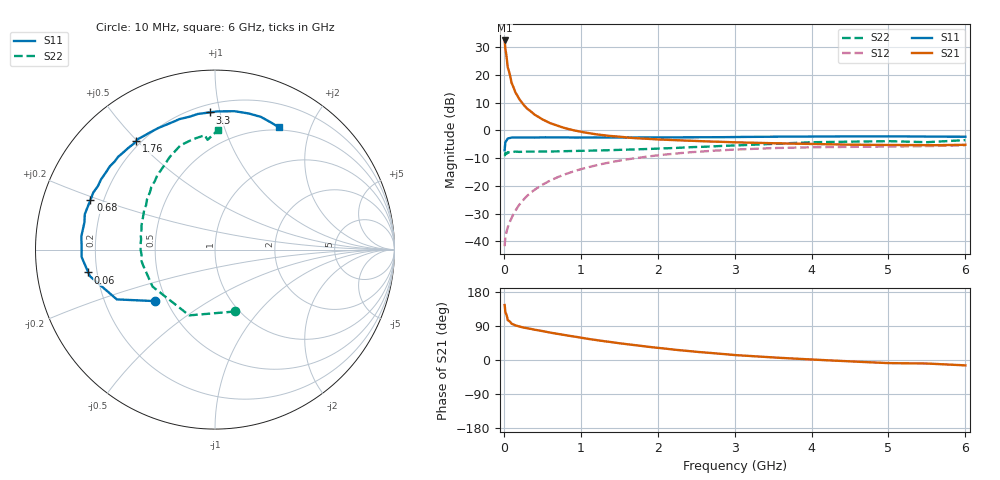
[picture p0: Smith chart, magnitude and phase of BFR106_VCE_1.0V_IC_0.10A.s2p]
! Infineon Technologies  Discrete & RF Semiconductors
! BFR106
! VCE =  1.0 V,  IC = 0.10 A
! Common Emitter S-Parameters:  Nov 2015
# GHz  S  MA  R  50
!  f  S11  S21  S12  S22
! GHz  MAG  ANG  MAG  ANG  MAG  ANG  MAG  ANG
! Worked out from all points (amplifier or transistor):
!   210 points, 10 MHz to 6 GHz, reference 50 ohm
!   highest |S21| = 32.4 dB at 10 MHz (marker M1)
!   |S21| within 3 dB of that: start of sweep to 20.05 MHz
!   unconditionally stable (mu >= 1): start of sweep to 15.12 MHz; 39.81 MHz to end of sweep
!   at 185 MHz: K = 1.44, MAG = 15.8 dB, |S12| = -27.4 dB
!   at 1.52 GHz: K = 1.25, MAG = 1.3 dB, |S12| = -10.8 dB
!   at 6 GHz: K = 1.04, MAG = -1.2 dB, |S12| = -5.3 dB
!   S11 on the Smith chart (normalised r, x): 10 MHz: 0.43, -0.31; 60 MHz: 0.17, -0.09; 680 MHz: 0.15, +0.19; 1.76 GHz: 0.18, +0.50; 3.3 GHz: 0.25, +0.93; 6 GHz: 0.47, +1.55
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0.01  0.4393 -139.2  41.75 145.0  0.0082 56.4  0.3625 -72.0
0.02  0.6133 -153.1  29.58 125.5  0.012 48.6  0.3936 -111.4
0.05  0.7126 -168.0  13.89 105.2  0.0178 50.9  0.4045 -149.4
0.06  0.7175 -169.8  12.54 104.1  0.0195 53.3  0.4025 -152.8
0.1  0.7442 -176.8  7.204 95.6  0.0264 59.9  0.4087 -166.2
0.15  0.743 179.4  4.843 91.2  0.0356 65.0  0.4155 -171.9
0.2  0.7446 176.9  3.681 88.1  0.0455 68.6  0.41 -175.6
0.26  0.7479 174.1  2.859 85.4  0.0573 69.9  0.4133 -178.8
0.3  0.746 172.7  2.486 83.9  0.0655 70.9  0.4147 -180.0
0.4  0.7431 168.2  1.922 79.9  0.0851 71.0  0.4155 176.7
0.5  0.7518 164.8  1.582 76.3  0.1045 70.3  0.4157 173.9
0.68  0.747 158.3  1.235 69.5  0.1396 67.8  0.4192 170.2
1.02  0.7451 147.6  0.935 58.4  0.2032 61.8  0.4277 163.0
1.3  0.7439 138.8  0.814 49.6  0.2523 56.2  0.437 157.1
1.76  0.7475 126.0  0.719 37.8  0.3225 47.0  0.4557 148.1
2.02  0.7465 119.3  0.686 31.8  0.3576 41.8  0.4719 143.1
3.1  0.7621 95.5  0.605 11.9  0.4566 22.3  0.5417 122.6
3.3  0.7649 92.2  0.595 9.3  0.4678 19.2  0.5568 119.3
4.1  0.7786 80.7  0.566 0.3  0.498 7.8  0.6141 107.0
5.1  0.7802 69.9  0.545 -8.4  0.5132 -2.8  0.6342 94.9
5.5  0.7735 66.0  0.539 -9.3  0.5205 -4.6  0.6129 93.9
6  0.7685 62.4  0.55 -14.2  0.5402 -10.8  0.6682 88.4
